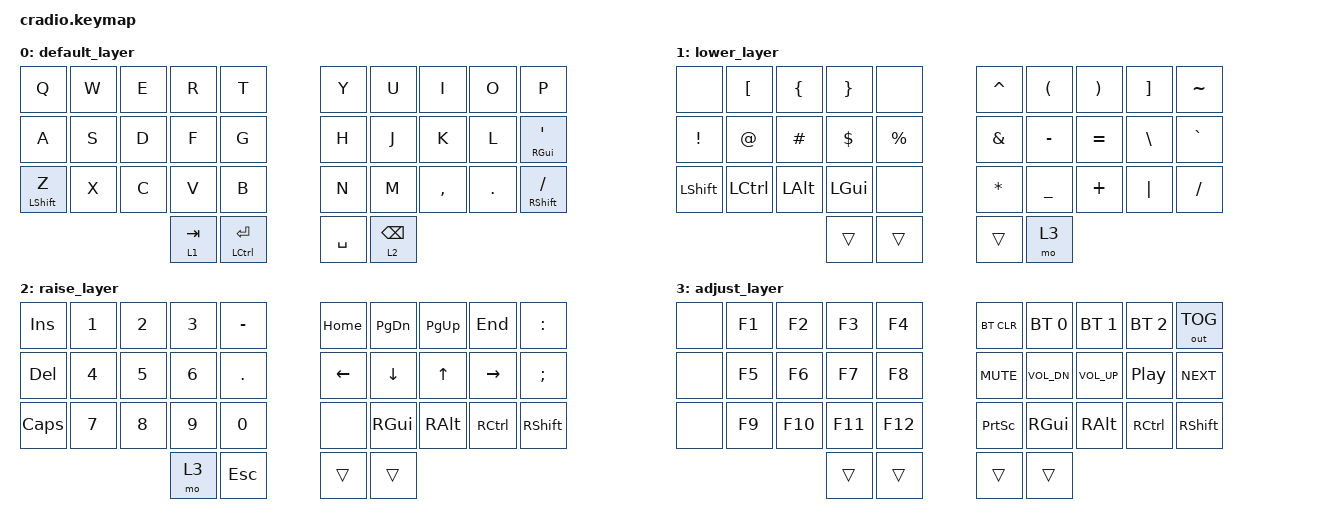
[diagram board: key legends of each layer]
/*
 * Copyright (c) 2020 The ZMK Contributors
 *
 * SPDX-License-Identifier: MIT
 */

#include <behaviors.dtsi>
#include <dt-bindings/zmk/bt.h>
#include <dt-bindings/zmk/keys.h>
#include <dt-bindings/zmk/outputs.h>

#define DEFLT 0
#define LOWER 1
#define RAISE 2
#define ADJST 3

&mt {
    flavor = "balanced";
    tapping-term-ms = <200>;
    quick-tap-ms = <200>;
};

&lt {
    flavor = "balanced";
    tapping-term-ms = <200>;
    quick-tap-ms = <200>;
};

/ {
    behaviors {
        mtq: mod_hold_preferred {
            compatible = "zmk,behavior-hold-tap";
            label = "mod_hold_preferred";
            flavor = "hold-preferred";
            tapping-term-ms = <200>;
            quick-tap-ms = <200>;
            #binding-cells = <2>;
            bindings = <&kp>, <&kp>;
        };

        ltq: layer_hold_preferred {
            compatible = "zmk,behavior-hold-tap";
            label = "layer_hold_preferred";
            flavor = "hold-preferred";
            tapping-term-ms = <200>;
            quick-tap-ms = <200>;
            #binding-cells = <2>;
            bindings = <&mo>, <&kp>;
        };
    };

    keymap {
        compatible = "zmk,keymap";

        default_layer {
            bindings = <
&kp Q        &kp W  &kp E  &kp R       &kp T               &kp Y      &kp U        &kp I      &kp O    &kp P
&kp A        &kp S  &kp D  &kp F       &kp G               &kp H      &kp J        &kp K      &kp L    &mt RGUI APOS
&mt LSHFT Z  &kp X  &kp C  &kp V       &kp B               &kp N      &kp M        &kp COMMA  &kp DOT  &mt RSHFT SLASH
                           &ltq 1 TAB  &mtq LCTRL ENTER    &kp SPACE  &ltq 2 BSPC
            >;
        };

        lower_layer {
            bindings = <
&none      &kp LBKT   &kp LBRC  &kp RBRC  &none        &kp CARET  &kp LPAR   &kp RPAR   &kp RBKT  &kp TILDE
&kp EXCL   &kp AT     &kp HASH  &kp DLLR  &kp PRCNT    &kp AMPS   &kp MINUS  &kp EQUAL  &kp BSLH  &kp GRAVE
&kp LSHFT  &kp LCTRL  &kp LALT  &kp LGUI  &none        &kp ASTRK  &kp UNDER  &kp PLUS   &kp PIPE  &kp SLASH
                                &trans    &trans       &trans     &mo 3
            >;
        };

        raise_layer {
            bindings = <
&kp INS   &kp N1  &kp N2  &kp N3  &kp MINUS    &kp HOME  &kp PG_DN  &kp PG_UP  &kp END    &kp COLON
&kp DEL   &kp N4  &kp N5  &kp N6  &kp DOT      &kp LEFT  &kp DOWN   &kp UP     &kp RIGHT  &kp SEMI
&kp CAPS  &kp N7  &kp N8  &kp N9  &kp N0       &none     &kp RGUI   &kp RALT   &kp RCTRL  &kp RSHFT
                          &mo 3   &kp ESC      &trans    &trans
            >;
        };

        adjust_layer {
            bindings = <
&none  &kp F1  &kp F2   &kp F3   &kp F4     &bt BT_CLR  &bt BT_SEL 0  &bt BT_SEL 1  &bt BT_SEL 2  &out OUT_TOG
&none  &kp F5  &kp F6   &kp F7   &kp F8     &kp C_MUTE  &kp C_VOL_DN  &kp C_VOL_UP  &kp C_PP      &kp C_NEXT
&none  &kp F9  &kp F10  &kp F11  &kp F12    &kp PSCRN   &kp RGUI      &kp RALT      &kp RCTRL     &kp RSHFT
                        &trans   &trans     &trans      &trans
            >;
        };
    };
};
